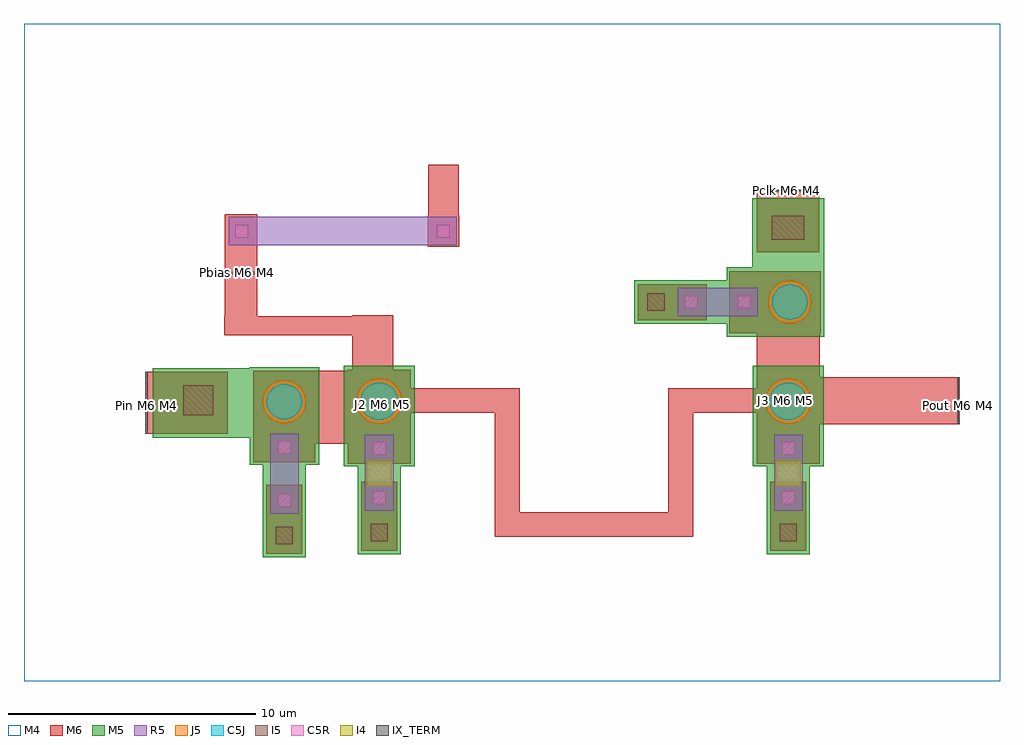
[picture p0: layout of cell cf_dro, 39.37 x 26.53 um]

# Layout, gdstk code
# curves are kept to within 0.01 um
from math import pi, radians
import gdstk
lib = gdstk.Library(unit=1e-6, precision=1e-09)
def R(c, l, rs):  # rectangles x0, y0, x1, y1
    for r in rs: c.add(gdstk.rectangle(r[:2], r[2:], *l))
def P(c, l, *ps):  # polygons
    for p in ps: c.add(gdstk.Polygon(p, *l))
IX_TERM = (19, 0)
M4 = (40, 0)
I4 = (41, 0)
M5 = (50, 0)
J5 = (51, 0)
R5 = (52, 0)
I5 = (54, 0)
C5J = (55, 0)
C5R = (56, 0)
M6 = (60, 0)

cf_jj250sg = lib.new_cell('cf_jj250sg')
R(cf_jj250sg, I4, [(0.66,2.43,1.66,3.43)])
R(cf_jj250sg, M5, [(-0.265,-1.395,2.585,2.655), (0.285,2.655,2.035,6.205)])
P(cf_jj250sg, J5, [(1.095,-0.88),(1.095,-0.875),(1.045,-0.875),(1.045,-0.87),(1.01,-0.87),(1.01,-0.865),(0.985,-0.865),(0.985,-0.86),(0.96,-0.86),(0.96,-0.855),(0.94,-0.855),(0.94,-0.85),(0.92,-0.85),(0.92,-0.845),(0.9,-0.845),(0.9,-0.84),(0.885,-0.84),(0.885,-0.835),(0.87,-0.835),(0.87,-0.83),(0.855,-0.83),(0.855,-0.825),(0.84,-0.825),(0.84,-0.82),(0.83,-0.82),(0.83,-0.815),(0.815,-0.815),(0.815,-0.81),(0.805,-0.81),(0.805,-0.805),(0.795,-0.805),(0.795,-0.8),(0.78,-0.8),(0.78,-0.795),(0.77,-0.795),(0.77,-0.79),(0.76,-0.79),(0.76,-0.785),(0.75,-0.785),(0.75,-0.78),(0.74,-0.78),(0.74,-0.775),(0.735,-0.775),(0.735,-0.77),(0.72,-0.77),(0.72,-0.765),(0.715,-0.765),(0.715,-0.76),(0.705,-0.76),(0.705,-0.755),(0.695,-0.755),(0.695,-0.75),(0.685,-0.75),(0.685,-0.745),(0.68,-0.745),(0.68,-0.74),(0.67,-0.74),(0.67,-0.735),(0.665,-0.735),(0.665,-0.73),(0.655,-0.73),(0.655,-0.725),(0.65,-0.725),(0.65,-0.72),(0.64,-0.72),(0.64,-0.715),(0.635,-0.715),(0.635,-0.71),(0.625,-0.71),(0.625,-0.705),(0.62,-0.705),(0.62,-0.7),(0.615,-0.7),(0.615,-0.695),(0.605,-0.695),(0.605,-0.69),(0.6,-0.69),(0.6,-0.685),(0.595,-0.685),(0.595,-0.68),(0.59,-0.68),(0.59,-0.675),(0.58,-0.675),(0.58,-0.67),(0.575,-0.67),(0.575,-0.665),(0.57,-0.665),(0.57,-0.66),(0.565,-0.66),(0.565,-0.655),(0.56,-0.655),(0.56,-0.65),(0.555,-0.65),(0.555,-0.645),(0.55,-0.645),(0.55,-0.64),(0.545,-0.64),(0.545,-0.635),(0.54,-0.635),(0.54,-0.63),(0.535,-0.63),(0.535,-0.625),(0.53,-0.625),(0.53,-0.62),(0.525,-0.62),(0.525,-0.615),(0.52,-0.615),(0.52,-0.61),(0.515,-0.61),(0.515,-0.605),(0.51,-0.605),(0.51,-0.6),(0.505,-0.6),(0.505,-0.595),(0.5,-0.595),(0.5,-0.59),(0.495,-0.59),(0.495,-0.585),(0.49,-0.585),(0.49,-0.58),(0.485,-0.58),(0.485,-0.575),(0.48,-0.575),(0.48,-0.57),(0.47,-0.57),(0.47,-0.555),(0.465,-0.555),(0.465,-0.55),(0.46,-0.55),(0.46,-0.545),(0.45,-0.545),(0.45,-0.53),(0.445,-0.53),(0.445,-0.525),(0.44,-0.525),(0.44,-0.52),(0.43,-0.52),(0.43,-0.505),(0.425,-0.505),(0.425,-0.5),(0.415,-0.5),(0.415,-0.485),(0.405,-0.485),(0.405,-0.47),(0.395,-0.47),(0.395,-0.46),(0.39,-0.46),(0.39,-0.445),(0.38,-0.445),(0.38,-0.43),(0.37,-0.43),(0.37,-0.42),(0.365,-0.42),(0.365,-0.41),(0.36,-0.41),(0.36,-0.4),(0.355,-0.4),(0.355,-0.39),(0.35,-0.39),(0.35,-0.38),(0.345,-0.38),(0.345,-0.37),(0.34,-0.37),(0.34,-0.36),(0.335,-0.36),(0.335,-0.35),(0.33,-0.35),(0.33,-0.34),(0.325,-0.34),(0.325,-0.33),(0.32,-0.33),(0.32,-0.315),(0.315,-0.315),(0.315,-0.305),(0.31,-0.305),(0.31,-0.29),(0.305,-0.29),(0.305,-0.275),(0.3,-0.275),(0.3,-0.265),(0.295,-0.265),(0.295,-0.25),(0.29,-0.25),(0.29,-0.23),(0.285,-0.23),(0.285,-0.215),(0.28,-0.215),(0.28,-0.195),(0.275,-0.195),(0.275,-0.175),(0.27,-0.175),(0.27,-0.15),(0.265,-0.15),(0.265,-0.125),(0.26,-0.125),(0.26,-0.09),(0.255,-0.09),(0.255,-0.05),(0.25,-0.05),(0.25,0.105),(0.255,0.105),(0.255,0.15),(0.26,0.15),(0.26,0.185),(0.265,0.185),(0.265,0.21),(0.27,0.21),(0.27,0.235),(0.275,0.235),(0.275,0.255),(0.28,0.255),(0.28,0.275),(0.285,0.275),(0.285,0.29),(0.29,0.29),(0.29,0.31),(0.295,0.31),(0.295,0.32),(0.3,0.32),(0.3,0.335),(0.305,0.335),(0.305,0.35),(0.31,0.35),(0.31,0.36),(0.315,0.36),(0.315,0.375),(0.32,0.375),(0.32,0.385),(0.325,0.385),(0.325,0.4),(0.33,0.4),(0.33,0.41),(0.335,0.41),(0.335,0.42),(0.34,0.42),(0.34,0.43),(0.345,0.43),(0.345,0.44),(0.35,0.44),(0.35,0.45),(0.355,0.45),(0.355,0.46),(0.36,0.46),(0.36,0.47),(0.365,0.47),(0.365,0.48),(0.37,0.48),(0.37,0.495),(0.38,0.495),(0.38,0.51),(0.39,0.51),(0.39,0.52),(0.395,0.52),(0.395,0.535),(0.405,0.535),(0.405,0.55),(0.41,0.55),(0.41,0.555),(0.42,0.555),(0.42,0.57),(0.425,0.57),(0.425,0.575),(0.435,0.575),(0.435,0.59),(0.44,0.59),(0.44,0.595),(0.45,0.595),(0.45,0.61),(0.455,0.61),(0.455,0.615),(0.46,0.615),(0.46,0.62),(0.465,0.62),(0.465,0.625),(0.47,0.625),(0.47,0.63),(0.475,0.63),(0.475,0.635),(0.485,0.635),(0.485,0.65),(0.49,0.65),(0.49,0.655),(0.495,0.655),(0.495,0.66),(0.5,0.66),(0.5,0.665),(0.505,0.665),(0.505,0.67),(0.51,0.67),(0.51,0.675),(0.515,0.675),(0.515,0.68),(0.52,0.68),(0.52,0.685),(0.53,0.685),(0.53,0.69),(0.535,0.69),(0.535,0.695),(0.54,0.695),(0.54,0.7),(0.545,0.7),(0.545,0.705),(0.55,0.705),(0.55,0.71),(0.555,0.71),(0.555,0.715),(0.56,0.715),(0.56,0.72),(0.565,0.72),(0.565,0.725),(0.57,0.725),(0.57,0.73),(0.58,0.73),(0.58,0.735),(0.585,0.735),(0.585,0.74),(0.59,0.74),(0.59,0.745),(0.595,0.745),(0.595,0.75),(0.605,0.75),(0.605,0.755),(0.61,0.755),(0.61,0.76),(0.615,0.76),(0.615,0.765),(0.625,0.765),(0.625,0.77),(0.63,0.77),(0.63,0.775),(0.635,0.775),(0.635,0.78),(0.645,0.78),(0.645,0.785),(0.65,0.785),(0.65,0.79),(0.66,0.79),(0.66,0.795),(0.67,0.795),(0.67,0.8),(0.675,0.8),(0.675,0.805),(0.685,0.805),(0.685,0.81),(0.69,0.81),(0.69,0.815),(0.7,0.815),(0.7,0.82),(0.71,0.82),(0.71,0.825),(0.72,0.825),(0.72,0.83),(0.725,0.83),(0.725,0.835),(0.735,0.835),(0.735,0.84),(0.745,0.84),(0.745,0.845),(0.755,0.845),(0.755,0.85),(0.765,0.85),(0.765,0.855),(0.78,0.855),(0.78,0.86),(0.785,0.86),(0.785,0.865),(0.8,0.865),(0.8,0.87),(0.815,0.87),(0.815,0.875),(0.825,0.875),(0.825,0.88),(0.835,0.88),(0.835,0.885),(0.85,0.885),(0.85,0.89),(0.865,0.89),(0.865,0.895),(0.88,0.895),(0.88,0.9),(0.895,0.9),(0.895,0.905),(0.91,0.905),(0.91,0.91),(0.93,0.91),(0.93,0.915),(0.955,0.915),(0.955,0.92),(0.975,0.92),(0.975,0.925),(1,0.925),(1,0.93),(1.03,0.93),(1.03,0.935),(1.075,0.935),(1.075,0.94),(1.245,0.94),(1.245,0.935),(1.285,0.935),(1.285,0.93),(1.32,0.93),(1.32,0.925),(1.34,0.925),(1.34,0.92),(1.365,0.92),(1.365,0.915),(1.385,0.915),(1.385,0.91),(1.405,0.91),(1.405,0.905),(1.42,0.905),(1.42,0.9),(1.44,0.9),(1.44,0.895),(1.455,0.895),(1.455,0.89),(1.465,0.89),(1.465,0.885),(1.48,0.885),(1.48,0.88),(1.495,0.88),(1.495,0.875),(1.505,0.875),(1.505,0.87),(1.52,0.87),(1.52,0.865),(1.53,0.865),(1.53,0.86),(1.54,0.86),(1.54,0.855),(1.55,0.855),(1.55,0.85),(1.56,0.85),(1.56,0.845),(1.57,0.845),(1.57,0.84),(1.58,0.84),(1.58,0.835),(1.59,0.835),(1.59,0.83),(1.6,0.83),(1.6,0.825),(1.61,0.825),(1.61,0.82),(1.615,0.82),(1.615,0.815),(1.625,0.815),(1.625,0.81),(1.635,0.81),(1.635,0.805),(1.64,0.805),(1.64,0.8),(1.65,0.8),(1.65,0.795),(1.655,0.795),(1.655,0.79),(1.665,0.79),(1.665,0.785),(1.675,0.785),(1.675,0.78),(1.68,0.78),(1.68,0.775),(1.69,0.775),(1.69,0.77),(1.695,0.77),(1.695,0.765),(1.7,0.765),(1.7,0.76),(1.71,0.76),(1.71,0.755),(1.715,0.755),(1.715,0.75),(1.72,0.75),(1.72,0.745),(1.725,0.745),(1.725,0.74),(1.735,0.74),(1.735,0.735),(1.74,0.735),(1.74,0.73),(1.745,0.73),(1.745,0.725),(1.75,0.725),(1.75,0.72),(1.755,0.72),(1.755,0.715),(1.765,0.715),(1.765,0.71),(1.77,0.71),(1.77,0.705),(1.775,0.705),(1.775,0.7),(1.78,0.7),(1.78,0.695),(1.785,0.695),(1.785,0.69),(1.79,0.69),(1.79,0.685),(1.795,0.685),(1.795,0.68),(1.805,0.68),(1.805,0.665),(1.81,0.665),(1.81,0.66),(1.815,0.66),(1.815,0.655),(1.82,0.655),(1.82,0.65),(1.825,0.65),(1.825,0.645),(1.83,0.645),(1.83,0.64),(1.835,0.64),(1.835,0.635),(1.84,0.635),(1.84,0.63),(1.845,0.63),(1.845,0.625),(1.855,0.625),(1.855,0.61),(1.86,0.61),(1.86,0.605),(1.865,0.605),(1.865,0.6),(1.875,0.6),(1.875,0.585),(1.88,0.585),(1.88,0.58),(1.89,0.58),(1.89,0.565),(1.895,0.565),(1.895,0.56),(1.905,0.56),(1.905,0.545),(1.915,0.545),(1.915,0.53),(1.925,0.53),(1.925,0.515),(1.935,0.515),(1.935,0.505),(1.94,0.505),(1.94,0.49),(1.95,0.49),(1.95,0.48),(1.955,0.48),(1.955,0.47),(1.96,0.47),(1.96,0.455),(1.97,0.455),(1.97,0.435),(1.98,0.435),(1.98,0.415),(1.99,0.415),(1.99,0.4),(1.995,0.4),(1.995,0.39),(2,0.39),(2,0.38),(2.005,0.38),(2.005,0.365),(2.01,0.365),(2.01,0.355),(2.015,0.355),(2.015,0.34),(2.02,0.34),(2.02,0.325),(2.025,0.325),(2.025,0.31),(2.03,0.31),(2.03,0.295),(2.035,0.295),(2.035,0.275),(2.04,0.275),(2.04,0.26),(2.045,0.26),(2.045,0.235),(2.05,0.235),(2.05,0.215),(2.055,0.215),(2.055,0.185),(2.06,0.185),(2.06,0.155),(2.065,0.155),(2.065,0.11),(2.07,0.11),(2.07,-0.045),(2.065,-0.045),(2.065,-0.09),(2.06,-0.09),(2.06,-0.12),(2.055,-0.12),(2.055,-0.15),(2.05,-0.15),(2.05,-0.175),(2.045,-0.175),(2.045,-0.195),(2.04,-0.195),(2.04,-0.21),(2.035,-0.21),(2.035,-0.23),(2.03,-0.23),(2.03,-0.245),(2.025,-0.245),(2.025,-0.26),(2.02,-0.26),(2.02,-0.275),(2.015,-0.275),(2.015,-0.29),(2.01,-0.29),(2.01,-0.3),(2.005,-0.3),(2.005,-0.315),(2,-0.315),(2,-0.325),(1.995,-0.325),(1.995,-0.335),(1.99,-0.335),(1.99,-0.35),(1.985,-0.35),(1.985,-0.36),(1.98,-0.36),(1.98,-0.37),(1.975,-0.37),(1.975,-0.38),(1.97,-0.38),(1.97,-0.39),(1.965,-0.39),(1.965,-0.4),(1.96,-0.4),(1.96,-0.415),(1.95,-0.415),(1.95,-0.425),(1.945,-0.425),(1.945,-0.435),(1.94,-0.435),(1.94,-0.45),(1.93,-0.45),(1.93,-0.465),(1.92,-0.465),(1.92,-0.48),(1.91,-0.48),(1.91,-0.495),(1.9,-0.495),(1.9,-0.51),(1.895,-0.51),(1.895,-0.515),(1.885,-0.515),(1.885,-0.53),(1.88,-0.53),(1.88,-0.535),(1.875,-0.535),(1.875,-0.54),(1.865,-0.54),(1.865,-0.555),(1.86,-0.555),(1.86,-0.56),(1.855,-0.56),(1.855,-0.565),(1.85,-0.565),(1.85,-0.57),(1.845,-0.57),(1.845,-0.575),(1.84,-0.575),(1.84,-0.58),(1.835,-0.58),(1.835,-0.585),(1.83,-0.585),(1.83,-0.59),(1.825,-0.59),(1.825,-0.595),(1.82,-0.595),(1.82,-0.6),(1.815,-0.6),(1.815,-0.605),(1.81,-0.605),(1.81,-0.61),(1.805,-0.61),(1.805,-0.615),(1.8,-0.615),(1.8,-0.62),(1.795,-0.62),(1.795,-0.625),(1.79,-0.625),(1.79,-0.63),(1.785,-0.63),(1.785,-0.635),(1.78,-0.635),(1.78,-0.64),(1.775,-0.64),(1.775,-0.645),(1.77,-0.645),(1.77,-0.65),(1.765,-0.65),(1.765,-0.655),(1.76,-0.655),(1.76,-0.66),(1.75,-0.66),(1.75,-0.665),(1.745,-0.665),(1.745,-0.67),(1.74,-0.67),(1.74,-0.675),(1.735,-0.675),(1.735,-0.68),(1.725,-0.68),(1.725,-0.685),(1.72,-0.685),(1.72,-0.69),(1.715,-0.69),(1.715,-0.695),(1.71,-0.695),(1.71,-0.7),(1.7,-0.7),(1.7,-0.705),(1.695,-0.705),(1.695,-0.71),(1.685,-0.71),(1.685,-0.715),(1.68,-0.715),(1.68,-0.72),(1.675,-0.72),(1.675,-0.725),(1.665,-0.725),(1.665,-0.73),(1.66,-0.73),(1.66,-0.735),(1.65,-0.735),(1.65,-0.74),(1.64,-0.74),(1.64,-0.745),(1.635,-0.745),(1.635,-0.75),(1.625,-0.75),(1.625,-0.755),(1.62,-0.755),(1.62,-0.76),(1.61,-0.76),(1.61,-0.765),(1.6,-0.765),(1.6,-0.77),(1.59,-0.77),(1.59,-0.775),(1.58,-0.775),(1.58,-0.78),(1.57,-0.78),(1.57,-0.785),(1.56,-0.785),(1.56,-0.79),(1.55,-0.79),(1.55,-0.795),(1.54,-0.795),(1.54,-0.8),(1.53,-0.8),(1.53,-0.805),(1.52,-0.805),(1.52,-0.81),(1.505,-0.81),(1.505,-0.815),(1.49,-0.815),(1.49,-0.82),(1.48,-0.82),(1.48,-0.825),(1.465,-0.825),(1.465,-0.83),(1.45,-0.83),(1.45,-0.835),(1.435,-0.835),(1.435,-0.84),(1.42,-0.84),(1.42,-0.845),(1.4,-0.845),(1.4,-0.85),(1.385,-0.85),(1.385,-0.855),(1.365,-0.855),(1.365,-0.86),(1.34,-0.86),(1.34,-0.865),(1.31,-0.865),(1.31,-0.87),(1.275,-0.87),(1.275,-0.875),(1.225,-0.875),(1.225,-0.88)])
R(cf_jj250sg, R5, [(0.585,1.38,1.735,4.455)])
R(cf_jj250sg, I5, [(0.81,4.98,1.51,5.68)])
P(cf_jj250sg, C5J, [(1.16,-0.73),(1.01,-0.72),(0.87,-0.67),(0.74,-0.6),(0.62,-0.51),(0.53,-0.39),(0.46,-0.26),(0.41,-0.12),(0.4,0.03),(0.41,0.18),(0.46,0.32),(0.53,0.45),(0.62,0.57),(0.74,0.66),(0.87,0.73),(1.01,0.78),(1.16,0.79),(1.31,0.78),(1.45,0.73),(1.58,0.66),(1.7,0.57),(1.79,0.45),(1.86,0.32),(1.91,0.18),(1.92,0.03),(1.91,-0.12),(1.86,-0.26),(1.79,-0.39),(1.7,-0.51),(1.58,-0.6),(1.45,-0.67),(1.31,-0.72)])
R(cf_jj250sg, C5R, [(0.9,1.67,1.42,2.19), (0.9,3.66,1.42,4.18)])
R(cf_jj250sg, M6, [(-0.115,-1.245,2.435,2.555), (0.435,3.28,1.885,6.055)])

cf_jj225s = lib.new_cell('cf_jj225s')
R(cf_jj225s, M5, [(-1.4,-1.4,1.4,2.55), (-0.875,2.55,0.875,6.275)])
P(cf_jj225s, J5, [(-0.065,-0.865),(-0.065,-0.86),(-0.11,-0.86),(-0.11,-0.855),(-0.145,-0.855),(-0.145,-0.85),(-0.17,-0.85),(-0.17,-0.845),(-0.195,-0.845),(-0.195,-0.84),(-0.215,-0.84),(-0.215,-0.835),(-0.235,-0.835),(-0.235,-0.83),(-0.25,-0.83),(-0.25,-0.825),(-0.27,-0.825),(-0.27,-0.82),(-0.28,-0.82),(-0.28,-0.815),(-0.295,-0.815),(-0.295,-0.81),(-0.31,-0.81),(-0.31,-0.805),(-0.32,-0.805),(-0.32,-0.8),(-0.335,-0.8),(-0.335,-0.795),(-0.345,-0.795),(-0.345,-0.79),(-0.355,-0.79),(-0.355,-0.785),(-0.37,-0.785),(-0.37,-0.78),(-0.38,-0.78),(-0.38,-0.775),(-0.39,-0.775),(-0.39,-0.77),(-0.4,-0.77),(-0.4,-0.765),(-0.41,-0.765),(-0.41,-0.76),(-0.415,-0.76),(-0.415,-0.755),(-0.425,-0.755),(-0.425,-0.75),(-0.435,-0.75),(-0.435,-0.745),(-0.445,-0.745),(-0.445,-0.74),(-0.45,-0.74),(-0.45,-0.735),(-0.46,-0.735),(-0.46,-0.73),(-0.465,-0.73),(-0.465,-0.725),(-0.475,-0.725),(-0.475,-0.72),(-0.485,-0.72),(-0.485,-0.715),(-0.49,-0.715),(-0.49,-0.71),(-0.495,-0.71),(-0.495,-0.705),(-0.505,-0.705),(-0.505,-0.7),(-0.51,-0.7),(-0.51,-0.695),(-0.52,-0.695),(-0.52,-0.69),(-0.525,-0.69),(-0.525,-0.685),(-0.53,-0.685),(-0.53,-0.68),(-0.535,-0.68),(-0.535,-0.675),(-0.545,-0.675),(-0.545,-0.67),(-0.55,-0.67),(-0.55,-0.665),(-0.555,-0.665),(-0.555,-0.66),(-0.56,-0.66),(-0.56,-0.655),(-0.565,-0.655),(-0.565,-0.65),(-0.57,-0.65),(-0.57,-0.645),(-0.575,-0.645),(-0.575,-0.64),(-0.58,-0.64),(-0.58,-0.635),(-0.585,-0.635),(-0.585,-0.63),(-0.59,-0.63),(-0.59,-0.625),(-0.595,-0.625),(-0.595,-0.62),(-0.6,-0.62),(-0.6,-0.615),(-0.605,-0.615),(-0.605,-0.61),(-0.61,-0.61),(-0.61,-0.605),(-0.615,-0.605),(-0.615,-0.6),(-0.62,-0.6),(-0.62,-0.595),(-0.625,-0.595),(-0.625,-0.59),(-0.63,-0.59),(-0.63,-0.585),(-0.635,-0.585),(-0.635,-0.58),(-0.64,-0.58),(-0.64,-0.575),(-0.645,-0.575),(-0.645,-0.57),(-0.65,-0.57),(-0.65,-0.565),(-0.655,-0.565),(-0.655,-0.56),(-0.665,-0.56),(-0.665,-0.545),(-0.67,-0.545),(-0.67,-0.54),(-0.675,-0.54),(-0.675,-0.535),(-0.685,-0.535),(-0.685,-0.52),(-0.69,-0.52),(-0.69,-0.515),(-0.7,-0.515),(-0.7,-0.5),(-0.705,-0.5),(-0.705,-0.495),(-0.715,-0.495),(-0.715,-0.485),(-0.72,-0.485),(-0.72,-0.47),(-0.73,-0.47),(-0.73,-0.455),(-0.74,-0.455),(-0.74,-0.445),(-0.745,-0.445),(-0.745,-0.435),(-0.75,-0.435),(-0.75,-0.42),(-0.76,-0.42),(-0.76,-0.41),(-0.765,-0.41),(-0.765,-0.4),(-0.77,-0.4),(-0.77,-0.39),(-0.775,-0.39),(-0.775,-0.38),(-0.78,-0.38),(-0.78,-0.37),(-0.785,-0.37),(-0.785,-0.36),(-0.79,-0.36),(-0.79,-0.35),(-0.795,-0.35),(-0.795,-0.335),(-0.8,-0.335),(-0.8,-0.325),(-0.805,-0.325),(-0.805,-0.31),(-0.81,-0.31),(-0.81,-0.3),(-0.815,-0.3),(-0.815,-0.285),(-0.82,-0.285),(-0.82,-0.27),(-0.825,-0.27),(-0.825,-0.255),(-0.83,-0.255),(-0.83,-0.235),(-0.835,-0.235),(-0.835,-0.22),(-0.84,-0.22),(-0.84,-0.195),(-0.845,-0.195),(-0.845,-0.175),(-0.85,-0.175),(-0.85,-0.15),(-0.855,-0.15),(-0.855,-0.115),(-0.86,-0.115),(-0.86,-0.07),(-0.865,-0.07),(-0.865,0.07),(-0.86,0.07),(-0.86,0.115),(-0.855,0.115),(-0.855,0.15),(-0.85,0.15),(-0.85,0.175),(-0.845,0.175),(-0.845,0.195),(-0.84,0.195),(-0.84,0.215),(-0.835,0.215),(-0.835,0.235),(-0.83,0.235),(-0.83,0.25),(-0.825,0.25),(-0.825,0.27),(-0.82,0.27),(-0.82,0.285),(-0.815,0.285),(-0.815,0.295),(-0.81,0.295),(-0.81,0.31),(-0.805,0.31),(-0.805,0.325),(-0.8,0.325),(-0.8,0.335),(-0.795,0.335),(-0.795,0.345),(-0.79,0.345),(-0.79,0.355),(-0.785,0.355),(-0.785,0.37),(-0.78,0.37),(-0.78,0.38),(-0.775,0.38),(-0.775,0.39),(-0.77,0.39),(-0.77,0.4),(-0.765,0.4),(-0.765,0.41),(-0.76,0.41),(-0.76,0.425),(-0.75,0.425),(-0.75,0.435),(-0.745,0.435),(-0.745,0.45),(-0.735,0.45),(-0.735,0.465),(-0.725,0.465),(-0.725,0.475),(-0.72,0.475),(-0.72,0.49),(-0.71,0.49),(-0.71,0.505),(-0.705,0.505),(-0.705,0.51),(-0.695,0.51),(-0.695,0.525),(-0.69,0.525),(-0.69,0.53),(-0.68,0.53),(-0.68,0.545),(-0.675,0.545),(-0.675,0.55),(-0.67,0.55),(-0.67,0.555),(-0.665,0.555),(-0.665,0.56),(-0.66,0.56),(-0.66,0.565),(-0.65,0.565),(-0.65,0.58),(-0.645,0.58),(-0.645,0.585),(-0.64,0.585),(-0.64,0.59),(-0.635,0.59),(-0.635,0.595),(-0.63,0.595),(-0.63,0.6),(-0.625,0.6),(-0.625,0.605),(-0.62,0.605),(-0.62,0.61),(-0.615,0.61),(-0.615,0.615),(-0.61,0.615),(-0.61,0.62),(-0.6,0.62),(-0.6,0.625),(-0.595,0.625),(-0.595,0.63),(-0.59,0.63),(-0.59,0.635),(-0.585,0.635),(-0.585,0.64),(-0.58,0.64),(-0.58,0.645),(-0.575,0.645),(-0.575,0.65),(-0.57,0.65),(-0.57,0.655),(-0.565,0.655),(-0.565,0.66),(-0.56,0.66),(-0.56,0.665),(-0.55,0.665),(-0.55,0.67),(-0.545,0.67),(-0.545,0.675),(-0.54,0.675),(-0.54,0.68),(-0.535,0.68),(-0.535,0.685),(-0.525,0.685),(-0.525,0.69),(-0.52,0.69),(-0.52,0.695),(-0.515,0.695),(-0.515,0.7),(-0.505,0.7),(-0.505,0.705),(-0.5,0.705),(-0.5,0.71),(-0.49,0.71),(-0.49,0.715),(-0.485,0.715),(-0.485,0.72),(-0.48,0.72),(-0.48,0.725),(-0.47,0.725),(-0.47,0.73),(-0.465,0.73),(-0.465,0.735),(-0.455,0.735),(-0.455,0.74),(-0.445,0.74),(-0.445,0.745),(-0.44,0.745),(-0.44,0.75),(-0.43,0.75),(-0.43,0.755),(-0.42,0.755),(-0.42,0.76),(-0.41,0.76),(-0.41,0.765),(-0.4,0.765),(-0.4,0.77),(-0.39,0.77),(-0.39,0.775),(-0.385,0.775),(-0.385,0.78),(-0.37,0.78),(-0.37,0.785),(-0.36,0.785),(-0.36,0.79),(-0.35,0.79),(-0.35,0.795),(-0.335,0.795),(-0.335,0.8),(-0.325,0.8),(-0.325,0.805),(-0.315,0.805),(-0.315,0.81),(-0.3,0.81),(-0.3,0.815),(-0.285,0.815),(-0.285,0.82),(-0.27,0.82),(-0.27,0.825),(-0.255,0.825),(-0.255,0.83),(-0.24,0.83),(-0.24,0.835),(-0.22,0.835),(-0.22,0.84),(-0.2,0.84),(-0.2,0.845),(-0.18,0.845),(-0.18,0.85),(-0.155,0.85),(-0.155,0.855),(-0.12,0.855),(-0.12,0.86),(-0.075,0.86),(-0.075,0.865),(0.075,0.865),(0.075,0.86),(0.12,0.86),(0.12,0.855),(0.15,0.855),(0.15,0.85),(0.175,0.85),(0.175,0.845),(0.195,0.845),(0.195,0.84),(0.22,0.84),(0.22,0.835),(0.235,0.835),(0.235,0.83),(0.25,0.83),(0.25,0.825),(0.27,0.825),(0.27,0.82),(0.285,0.82),(0.285,0.815),(0.295,0.815),(0.295,0.81),(0.31,0.81),(0.31,0.805),(0.325,0.805),(0.325,0.8),(0.335,0.8),(0.335,0.795),(0.345,0.795),(0.345,0.79),(0.36,0.79),(0.36,0.785),(0.37,0.785),(0.37,0.78),(0.38,0.78),(0.38,0.775),(0.39,0.775),(0.39,0.77),(0.4,0.77),(0.4,0.765),(0.41,0.765),(0.41,0.76),(0.42,0.76),(0.42,0.755),(0.425,0.755),(0.425,0.75),(0.435,0.75),(0.435,0.745),(0.445,0.745),(0.445,0.74),(0.45,0.74),(0.45,0.735),(0.46,0.735),(0.46,0.73),(0.465,0.73),(0.465,0.725),(0.475,0.725),(0.475,0.72),(0.485,0.72),(0.485,0.715),(0.49,0.715),(0.49,0.71),(0.5,0.71),(0.5,0.705),(0.505,0.705),(0.505,0.7),(0.515,0.7),(0.515,0.695),(0.52,0.695),(0.52,0.69),(0.525,0.69),(0.525,0.685),(0.53,0.685),(0.53,0.68),(0.54,0.68),(0.54,0.675),(0.545,0.675),(0.545,0.67),(0.55,0.67),(0.55,0.665),(0.555,0.665),(0.555,0.66),(0.56,0.66),(0.56,0.655),(0.565,0.655),(0.565,0.65),(0.575,0.65),(0.575,0.645),(0.58,0.645),(0.58,0.64),(0.585,0.64),(0.585,0.635),(0.59,0.635),(0.59,0.63),(0.595,0.63),(0.595,0.625),(0.6,0.625),(0.6,0.62),(0.605,0.62),(0.605,0.615),(0.61,0.615),(0.61,0.61),(0.62,0.61),(0.62,0.595),(0.625,0.595),(0.625,0.59),(0.63,0.59),(0.63,0.585),(0.635,0.585),(0.635,0.58),(0.64,0.58),(0.64,0.575),(0.645,0.575),(0.645,0.57),(0.65,0.57),(0.65,0.565),(0.655,0.565),(0.655,0.56),(0.665,0.56),(0.665,0.545),(0.67,0.545),(0.67,0.54),(0.675,0.54),(0.675,0.535),(0.685,0.535),(0.685,0.52),(0.69,0.52),(0.69,0.515),(0.7,0.515),(0.7,0.5),(0.71,0.5),(0.71,0.485),(0.715,0.485),(0.715,0.48),(0.725,0.48),(0.725,0.465),(0.735,0.465),(0.735,0.455),(0.74,0.455),(0.74,0.445),(0.745,0.445),(0.745,0.43),(0.755,0.43),(0.755,0.42),(0.76,0.42),(0.76,0.41),(0.765,0.41),(0.765,0.4),(0.77,0.4),(0.77,0.39),(0.775,0.39),(0.775,0.38),(0.78,0.38),(0.78,0.37),(0.785,0.37),(0.785,0.36),(0.79,0.36),(0.79,0.35),(0.795,0.35),(0.795,0.335),(0.8,0.335),(0.8,0.325),(0.805,0.325),(0.805,0.315),(0.81,0.315),(0.81,0.3),(0.815,0.3),(0.815,0.285),(0.82,0.285),(0.82,0.27),(0.825,0.27),(0.825,0.255),(0.83,0.255),(0.83,0.24),(0.835,0.24),(0.835,0.22),(0.84,0.22),(0.84,0.2),(0.845,0.2),(0.845,0.175),(0.85,0.175),(0.85,0.15),(0.855,0.15),(0.855,0.12),(0.86,0.12),(0.86,0.07),(0.865,0.07),(0.865,-0.07),(0.86,-0.07),(0.86,-0.115),(0.855,-0.115),(0.855,-0.15),(0.85,-0.15),(0.85,-0.175),(0.845,-0.175),(0.845,-0.195),(0.84,-0.195),(0.84,-0.215),(0.835,-0.215),(0.835,-0.235),(0.83,-0.235),(0.83,-0.255),(0.825,-0.255),(0.825,-0.265),(0.82,-0.265),(0.82,-0.28),(0.815,-0.28),(0.815,-0.295),(0.81,-0.295),(0.81,-0.31),(0.805,-0.31),(0.805,-0.325),(0.8,-0.325),(0.8,-0.335),(0.795,-0.335),(0.795,-0.345),(0.79,-0.345),(0.79,-0.365),(0.78,-0.365),(0.78,-0.38),(0.775,-0.38),(0.775,-0.39),(0.77,-0.39),(0.77,-0.405),(0.76,-0.405),(0.76,-0.415),(0.755,-0.415),(0.755,-0.425),(0.75,-0.425),(0.75,-0.44),(0.74,-0.44),(0.74,-0.45),(0.735,-0.45),(0.735,-0.465),(0.725,-0.465),(0.725,-0.48),(0.715,-0.48),(0.715,-0.495),(0.705,-0.495),(0.705,-0.51),(0.7,-0.51),(0.7,-0.515),(0.69,-0.515),(0.69,-0.53),(0.685,-0.53),(0.685,-0.535),(0.68,-0.535),(0.68,-0.54),(0.67,-0.54),(0.67,-0.555),(0.665,-0.555),(0.665,-0.56),(0.66,-0.56),(0.66,-0.565),(0.655,-0.565),(0.655,-0.57),(0.65,-0.57),(0.65,-0.575),(0.645,-0.575),(0.645,-0.58),(0.64,-0.58),(0.64,-0.585),(0.635,-0.585),(0.635,-0.59),(0.63,-0.59),(0.63,-0.595),(0.625,-0.595),(0.625,-0.6),(0.62,-0.6),(0.62,-0.605),(0.615,-0.605),(0.615,-0.61),(0.61,-0.61),(0.61,-0.615),(0.605,-0.615),(0.605,-0.62),(0.6,-0.62),(0.6,-0.625),(0.595,-0.625),(0.595,-0.63),(0.59,-0.63),(0.59,-0.635),(0.585,-0.635),(0.585,-0.64),(0.58,-0.64),(0.58,-0.645),(0.575,-0.645),(0.575,-0.65),(0.57,-0.65),(0.57,-0.655),(0.565,-0.655),(0.565,-0.66),(0.555,-0.66),(0.555,-0.665),(0.55,-0.665),(0.55,-0.67),(0.545,-0.67),(0.545,-0.675),(0.54,-0.675),(0.54,-0.68),(0.53,-0.68),(0.53,-0.685),(0.525,-0.685),(0.525,-0.69),(0.52,-0.69),(0.52,-0.695),(0.515,-0.695),(0.515,-0.7),(0.505,-0.7),(0.505,-0.705),(0.5,-0.705),(0.5,-0.71),(0.49,-0.71),(0.49,-0.715),(0.485,-0.715),(0.485,-0.72),(0.475,-0.72),(0.475,-0.725),(0.47,-0.725),(0.47,-0.73),(0.46,-0.73),(0.46,-0.735),(0.455,-0.735),(0.455,-0.74),(0.445,-0.74),(0.445,-0.745),(0.435,-0.745),(0.435,-0.75),(0.43,-0.75),(0.43,-0.755),(0.42,-0.755),(0.42,-0.76),(0.41,-0.76),(0.41,-0.765),(0.4,-0.765),(0.4,-0.77),(0.39,-0.77),(0.39,-0.775),(0.38,-0.775),(0.38,-0.78),(0.37,-0.78),(0.37,-0.785),(0.36,-0.785),(0.36,-0.79),(0.345,-0.79),(0.345,-0.795),(0.335,-0.795),(0.335,-0.8),(0.325,-0.8),(0.325,-0.805),(0.31,-0.805),(0.31,-0.81),(0.3,-0.81),(0.3,-0.815),(0.285,-0.815),(0.285,-0.82),(0.27,-0.82),(0.27,-0.825),(0.255,-0.825),(0.255,-0.83),(0.235,-0.83),(0.235,-0.835),(0.22,-0.835),(0.22,-0.84),(0.2,-0.84),(0.2,-0.845),(0.175,-0.845),(0.175,-0.85),(0.145,-0.85),(0.145,-0.855),(0.115,-0.855),(0.115,-0.86),(0.065,-0.86),(0.065,-0.865)])
R(cf_jj225s, R5, [(-0.575,1.3,0.575,4.525)])
R(cf_jj225s, I5, [(-0.35,5.05,0.35,5.75)])
P(cf_jj225s, C5J, [(0,-0.72),(-0.14,-0.71),(-0.27,-0.67),(-0.4,-0.6),(-0.51,-0.51),(-0.61,-0.4),(-0.66,-0.28),(-0.73,-0.01),(-0.7,0.15),(-0.61,0.39),(-0.51,0.5),(-0.4,0.59),(-0.27,0.66),(-0.14,0.7),(0,0.71),(0.14,0.7),(0.27,0.66),(0.4,0.59),(0.51,0.5),(0.61,0.39),(0.7,0.15),(0.73,-0.01),(0.66,-0.28),(0.61,-0.4),(0.51,-0.51),(0.4,-0.6),(0.27,-0.67),(0.14,-0.71)])
R(cf_jj225s, C5R, [(-0.26,1.57,0.26,2.09), (-0.26,3.72,0.26,4.24)])
R(cf_jj225s, M6, [(-1.25,-1.25,1.25,2.45), (-0.725,3.35,0.725,6.125)])

res14_28 = lib.new_cell('res14_28')
R(res14_28, R5, [(-0.575,0,0.575,9.2)])
R(res14_28, C5R, [(-0.26,0.29,0.26,0.81), (-0.26,8.42,0.26,8.94)])
R(res14_28, M6, [(-0.625,-0.1,0.625,1.175), (-0.625,8.05,0.625,9.3)])

cf_dro = lib.new_cell('cf_dro')
R(cf_dro, M4, [(-27.49,-3.33,11.88,23.2)])
R(cf_dro, M5, [(-22.29,6.5,-18.19,9.29), (1.89,13.31,4.8,16.16)])
R(cf_dro, I5, [(-21.07,7.4,-19.85,8.61), (2.67,14.49,3.99,15.45)])
R(cf_dro, M6, [(-15.75,6.25,-13.94,9.2), (-22.54,6.65,-19.28,9.16), (4.53,7.05,10.21,8.94), (-14.25,9.03,-12.6,11.43), (2.06,9.24,4.61,10.73), (-19.41,10.63,-14.23,11.4), (-19.4,11.34,-18.09,15.52), (2.07,13.97,4.58,16.46), (-11.18,15.43,-9.95,17.51)])
cf_dro.add(gdstk.FlexPath([(-12,8),(-8,8),(-8,3),(-1,3),(-1,8),(2.1,8)], 1, ends="flush", simple_path=True, layer=60, datatype=0))  # M6
cf_dro.add(gdstk.FlexPath([(2.07,16.46),(4.58,16.46)], 0.1, ends="flush", simple_path=True, layer=19, datatype=0))  # IX_TERM
cf_dro.add(gdstk.FlexPath([(-22.54,9.16),(-22.54,6.65)], 0.1, ends="flush", simple_path=True, layer=19, datatype=0))  # IX_TERM
cf_dro.add(gdstk.FlexPath([(-19.4,13.15),(-18.09,13.15)], 0.1, ends="flush", simple_path=True, layer=19, datatype=0))  # IX_TERM
cf_dro.add(gdstk.FlexPath([(10.21,8.94),(10.21,7.05)], 0.1, ends="flush", simple_path=True, layer=19, datatype=0))  # IX_TERM
cf_dro.add(gdstk.Reference(cf_jj250sg, (-12,8), rotation=pi))
cf_dro.add(gdstk.Reference(cf_jj250sg, (4.5,8), rotation=pi))
cf_dro.add(gdstk.Reference(cf_jj225s, (3.4,11.97), rotation=pi/2))
cf_dro.add(gdstk.Reference(cf_jj225s, (-16.99,7.95), rotation=pi))
cf_dro.add(gdstk.Reference(res14_28, (-10.03,14.83), rotation=pi/2))
cf_dro.add(gdstk.Label('J2 M6 M5', (-13.02,7.83), layer=182, texttype=0))
cf_dro.add(gdstk.Label('J3 M6 M5', (3.24,8), layer=182, texttype=0))
cf_dro.add(gdstk.Label('Pbias M6 M4', (-18.88,13.15), layer=182, texttype=0))
cf_dro.add(gdstk.Label('Pclk M6 M4', (3.27,16.46), layer=182, texttype=0))
cf_dro.add(gdstk.Label('Pin M6 M4', (-22.54,7.78), layer=182, texttype=0))
cf_dro.add(gdstk.Label('Pout M6 M4', (10.21,7.78), layer=182, texttype=0))

lib.write_gds('cf_dro.gds')
